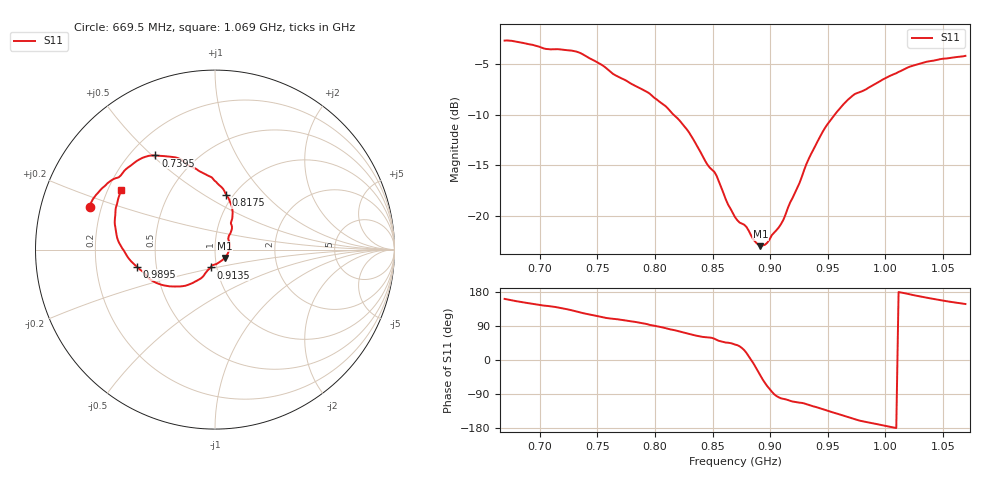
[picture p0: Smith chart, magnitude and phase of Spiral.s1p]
#  HZ  S  RI  R  50.00
! Rohde & Schwarz Vector Network Analyzer
! Rohde-Schwarz,ZNB8-2Port,1311601042102944,2.30
! Created: UTC 3/16/2026, 1:14:32 PM
! freq[Hz]  re:S22  im:S22
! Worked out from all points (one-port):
!   201 points, 669.5 MHz to 1.069 GHz, reference 50 ohm
!   lowest |S11| = -23.0 dB at 891.5 MHz (marker M1), VSWR 1.15, Z = 55.4 - j5.16 ohm
!   |S11| at or under -10 dB: 816.4 MHz to 956 MHz (139.6 MHz wide, 15.8 % of centre)
!   S11 on the Smith chart (normalised r, x): 669.5 MHz: 0.15, +0.16; 739.5 MHz: 0.30, +0.51; 817.5 MHz: 0.93, +0.63; 913.5 MHz: 0.93, -0.19; 989.5 MHz: 0.39, -0.09; 1.069 GHz: 0.25, +0.27
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6.695e8  -0.6989 0.2372
6.875e8  -0.626 0.3446
7.195e8  -0.4813 0.4598
7.295e8  -0.4207 0.5028
7.395e8  -0.3324 0.5243
7.575e8  -0.194 0.5045
7.695e8  -0.1385 0.464
7.955e8  -0.0182 0.4025
8.175e8  0.0629 0.3057
8.195e8  0.0689 0.2968
8.335e8  0.0975 0.2175
8.455e8  0.0905 0.1551
8.515e8  0.0919 0.1376
8.695e8  0.0747 0.0644
8.815e8  0.0831 0.0137
8.915e8  0.0536 -0.0463
8.975e8  0.0264 -0.0687
9.095e8  -0.0178 -0.0895
9.135e8  -0.0244 -0.0991
9.195e8  -0.0411 -0.1157
9.295e8  -0.07 -0.1533
9.455e8  -0.165 -0.2013
9.575e8  -0.2524 -0.2048
9.695e8  -0.3407 -0.1786
9.895e8  -0.4335 -0.0966
1.0195e9  -0.5407 0.0525
1.0375e9  -0.5581 0.1653
1.0695e9  -0.5245 0.3307
